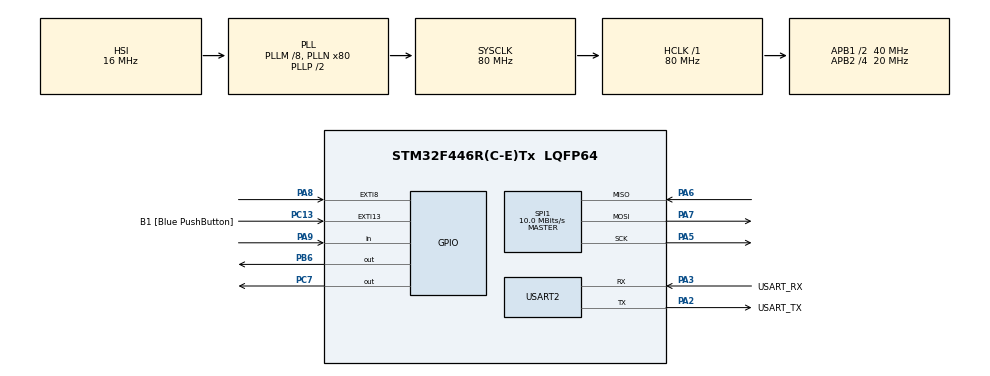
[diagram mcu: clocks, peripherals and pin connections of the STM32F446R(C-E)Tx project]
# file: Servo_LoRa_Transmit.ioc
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Mcu.Family=STM32F4
Mcu.Name=STM32F446R(C-E)Tx
Mcu.Package=LQFP64
NVIC.PriorityGroup=NVIC_PRIORITYGROUP_0
PA13.GPIO_Label=TMS
PA13.Mode=Serial_Wire
PA13.Signal=SYS_JTMS-SWDIO
PA14.GPIO_Label=TCK
PA14.Mode=Serial_Wire
PA14.Signal=SYS_JTCK-SWCLK
PA2.GPIO_Label=USART_TX
PA2.Mode=Asynchronous
PA2.Signal=USART2_TX
PA3.GPIO_Label=USART_RX
PA3.Mode=Asynchronous
PA3.Signal=USART2_RX
PA5.GPIO_PuPd=GPIO_PULLDOWN
PA5.Mode=Full_Duplex_Master
PA5.Signal=SPI1_SCK
PA6.GPIO_PuPd=GPIO_PULLDOWN
PA6.Mode=Full_Duplex_Master
PA6.Signal=SPI1_MISO
PA7.GPIO_PuPd=GPIO_PULLDOWN
PA7.Mode=Full_Duplex_Master
PA7.Signal=SPI1_MOSI
PA8.GPIO_ModeDefaultEXTI=GPIO_MODE_IT_RISING
PA8.GPIO_PuPd=GPIO_PULLDOWN
PA8.Signal=GPXTI8
PA9.Signal=GPIO_Input
PB3.GPIO_Label=SWO
PB3.Signal=SYS_JTDO-SWO
PB6.GPIO_Speed=GPIO_SPEED_FREQ_VERY_HIGH
PB6.PinState=GPIO_PIN_SET
PB6.Signal=GPIO_Output
PC13.GPIO_Label=B1 [Blue PushButton]
PC13.GPIO_ModeDefaultEXTI=GPIO_MODE_IT_FALLING
PC13.Signal=GPXTI13
PC14-OSC32_IN.Mode=LSE-External-Oscillator
PC14-OSC32_IN.Signal=RCC_OSC32_IN
PC15-OSC32_OUT.Mode=LSE-External-Oscillator
PC15-OSC32_OUT.Signal=RCC_OSC32_OUT
PC7.GPIO_ModeDefaultOutputPP=GPIO_MODE_OUTPUT_OD
PC7.GPIO_PuPd=GPIO_NOPULL
PC7.GPIO_Speed=GPIO_SPEED_FREQ_MEDIUM
PC7.PinState=GPIO_PIN_RESET
PC7.Signal=GPIO_Output
PH0-OSC_IN.Mode=HSE-External-Oscillator
PH0-OSC_IN.Signal=RCC_OSC_IN
PH1-OSC_OUT.Mode=HSE-External-Oscillator
PH1-OSC_OUT.Signal=RCC_OSC_OUT
ProjectManager.HeapSize=0x200
ProjectManager.StackSize=0x400
ProjectManager.TargetToolchain=STM32CubeIDE
RCC.48MHZClocksFreq_Value=84000000
RCC.AHBFreq_Value=80000000
RCC.APB1CLKDivider=RCC_HCLK_DIV2
RCC.APB1Freq_Value=40000000
RCC.APB1TimFreq_Value=80000000
RCC.APB2CLKDivider=RCC_HCLK_DIV4
RCC.APB2Freq_Value=20000000
RCC.APB2TimFreq_Value=40000000
RCC.CortexFreq_Value=80000000
RCC.FLatency-AdvancedSettings=FLASH_LATENCY_2
RCC.HCLKFreq_Value=80000000
RCC.HSE_VALUE=8000000
RCC.HSI_VALUE=16000000
RCC.PLLM=8
RCC.PLLN=80
RCC.SYSCLKFreq_VALUE=80000000
RCC.SYSCLKSource=RCC_SYSCLKSOURCE_PLLCLK
RCC.USBFreq_Value=80000000
RCC.VCOOutputFreq_Value=160000000
SPI1.BaudRatePrescaler=SPI_BAUDRATEPRESCALER_2
SPI1.CalculateBaudRate=10.0 MBits/s
SPI1.Direction=SPI_DIRECTION_2LINES
SPI1.Mode=SPI_MODE_MASTER
SPI1.VirtualType=VM_MASTER
USART2.VirtualMode=VM_ASYNC
board=NUCLEO-F446RE

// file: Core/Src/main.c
/* USER CODE BEGIN Header */
/**
 ******************************************************************************
 * @file           : main.c
 * @brief          : Main program body
 ******************************************************************************
 * @attention
 *
 * Copyright (c) 2024 STMicroelectronics.
 * All rights reserved.
 *
 * This software is licensed under terms that can be found in the LICENSE file
 * in the root directory of this software component.
 * If no LICENSE file comes with this software, it is provided AS-IS.
 *
 *
 *
 *RECEIVE RECEIVE RECEIVE RECEIVE RECEIVE RECEIVE RECEIVE RECEIVE RECEIVE RECEIVE
 ******************************************************************************
 */
/* USER CODE END Header */
#include "main.h"

/* USER CODE BEGIN PTD */
#include "stdio.h"
#include "string.h"

/* USER CODE END PTD */

/* USER CODE BEGIN PD */
#define FIFO_OVERFLOW 1
#define NULL_POINTER 2
#define FIFO_SIZE 10      // Beispielgröße des FIFO-Puffers
#define PACKET_SIZE 1     // Beispielgröße eines Pakets

//typedef enum {
//    RADIO_TICK_SIZE_0015_US, // Beispiel für eine Zeitgröße, z. B. 0,015 Mikrosekunden
//    RADIO_TICK_SIZE_1_US,    // Beispiel für 1 Mikrosekunde
//    RADIO_TICK_SIZE_100_US,  // Beispiel für 100 Mikrosekunden
//    // Weitere Größen können hier hinzugefügt werden.
//} RadioTickSizes_t;
//
//typedef struct TickTime_s {
//    RadioTickSizes_t PeriodBase;   //!< Die Basiseinheit der Zeit (Tickgröße)
//    uint16_t PeriodBaseCount;      //!< Die Anzahl der PeriodBase-Einheiten
//} TickTime_t;

/* USER CODE END PD */

/* USER CODE BEGIN PM */
uint8_t txData_const = 0xC0;  // Beispiel: Opcode für GetStatus
uint8_t rxData_const = 0x00;  // Hier wird die Antwort gespeichert
char uart_buf[100];
int uart_buf_len;
uint8_t busy, nss, reset;
uint8_t tx_fifo[FIFO_SIZE][PACKET_SIZE];  // FIFO für Pakete
uint8_t *tx_eprt = tx_fifo[0];            // Zeiger auf das erste Paket
uint8_t tx_length = 0;                    // Anzahl der Pakete im FIFO
uint8_t tx_activated = 0;
uint8_t buf_out[100]; // Beispielgröße für buf_out, abhängig von deinem Bedarf
uint8_t rx_buffer[8]; // Empfangspuffer für Daten

/* USER CODE END PM */

SPI_HandleTypeDef hspi1;

UART_HandleTypeDef huart2;

/* USER CODE BEGIN PV */

void Erase_Flash(void) {
	FLASH_EraseInitTypeDef EraseInitStruct;
	uint32_t SectorError;

	// Unlock the Flash
	HAL_FLASH_Unlock();

	// Configure the erase operation
	EraseInitStruct.TypeErase = FLASH_TYPEERASE_SECTORS;
	EraseInitStruct.VoltageRange = FLASH_VOLTAGE_RANGE_3;
	EraseInitStruct.Sector = FLASH_SECTOR_0; // Specify sector to erase
	EraseInitStruct.NbSectors = 1;

	// Erase the sector
	if (HAL_FLASHEx_Erase(&EraseInitStruct, &SectorError) != HAL_OK) {
		// Handle error
	}

	// Lock the Flash
	HAL_FLASH_Lock();
}
void ResetChip(GPIO_TypeDef* GPIOx, uint16_t GPIO_Pin) {
	HAL_GPIO_WritePin(GPIOx, GPIO_Pin, GPIO_PIN_SET);
	HAL_Delay(20);
	HAL_GPIO_WritePin(GPIOx, GPIO_Pin, GPIO_PIN_RESET);
	HAL_Delay(100);
	HAL_GPIO_WritePin(GPIOx, GPIO_Pin, GPIO_PIN_SET);
	HAL_Delay(20);
}

void SelectChip(GPIO_TypeDef* GPIOx, uint16_t GPIO_Pin, GPIO_PinState state) {
	HAL_GPIO_WritePin(GPIOx, GPIO_Pin, state);
	HAL_Delay(2); // Falls notwendig
}
void SPI_TransmitReceiveWithDebug(SPI_HandleTypeDef* hspi, uint8_t* txData, uint8_t* rxData, uint16_t length, const char* debugMessage) {
	HAL_SPI_TransmitReceive(hspi, txData, rxData, length, HAL_MAX_DELAY);
	if (debugMessage) {
		HAL_UART_Transmit(&huart2, (uint8_t*)debugMessage, strlen(debugMessage), 100);
	}
}
/* USER CODE END PV */

void SystemClock_Config(void);
static void MX_GPIO_Init(void);
static void MX_USART2_UART_Init(void);
static void MX_SPI1_Init(void);

/* USER CODE BEGIN 0 */
uint8_t ProcessStatusByte(uint8_t* statusByte) {
	// Extrahiere die Bits 7:5 (Circuit Mode) und 4:2 (Command Status)
	uint8_t circuitMode = (*statusByte >> 5) & 0x07; // Maske 0x07 für 3 Bits
	uint8_t commandStatus = (*statusByte >> 2) & 0x07; // Maske 0x07 für 3 Bits

	// Debug-Ausgabe für UART
	char uart_buf[50];
	int uart_buf_len = sprintf(uart_buf, "Circuit Mode: %u, Command Status: %u\r\n", circuitMode, commandStatus);
	HAL_UART_Transmit(&huart2, (uint8_t *)uart_buf, uart_buf_len, 100);

	// Verarbeitung von Circuit Mode
	switch (circuitMode) {
	case 0x2:
		// STDBY_RC
		HAL_UART_Transmit(&huart2, (uint8_t *)"Mode: STDBY_RC\r\n", 17, 100);
		break;
	case 0x3:
		// STDBY_XOSC
		HAL_UART_Transmit(&huart2, (uint8_t *)"Mode: STDBY_XOSC\r\n", 19, 100);
		break;
	case 0x4:
		// FS
		HAL_UART_Transmit(&huart2, (uint8_t *)"Mode: FS\r\n", 10, 100);
		break;
	case 0x5:
		// Rx
		HAL_UART_Transmit(&huart2, (uint8_t *)"Mode: Rx\r\n", 10, 100);
		break;
	case 0x6:
		// Tx
		HAL_UART_Transmit(&huart2, (uint8_t *)"Mode: Tx\r\n", 10, 100);
		break;
	default:
		HAL_UART_Transmit(&huart2, (uint8_t *)"Mode: Unknown\r\n", 16, 100);

	}

	// Verarbeitung von Command Status
	switch (commandStatus) {
	case 0x1:
		HAL_UART_Transmit(&huart2, (uint8_t *)"Command Status: Success\r\n", 26, 100);
		break;
	case 0x2:
		HAL_UART_Transmit(&huart2, (uint8_t *)"Command Status: Data Available\r\n", 33, 100);
		break;
	case 0x3:
		HAL_UART_Transmit(&huart2, (uint8_t *)"Command Status: Timeout\r\n", 26, 100);
		break;
	case 0x4:
		HAL_UART_Transmit(&huart2, (uint8_t *)"Command Status: Error\r\n", 24, 100);
		break;
	case 0x5:
		HAL_UART_Transmit(&huart2, (uint8_t *)"Command Status: Failure\r\n", 26, 100);
		break;
	case 0x6:
		HAL_UART_Transmit(&huart2, (uint8_t *)"Command Status: Tx Done\r\n", 26, 100);
		break;
	default:
		HAL_UART_Transmit(&huart2, (uint8_t *)"Command Status: Unknown\r\n", 27, 100);
	}
	return circuitMode;
}

void SPI_WaitUntilReady(SPI_HandleTypeDef *hspi) {
	while (HAL_GPIO_ReadPin(GPIOA, GPIO_PIN_9) == GPIO_PIN_SET) {
		busy=uint8_t(HAL_GPIO_ReadPin(GPIOA, GPIO_PIN_9));
		HAL_GPIO_WritePin(GPIOB, GPIO_PIN_6, GPIO_PIN_SET); // Select the chip
		nss = uint8_t(HAL_GPIO_ReadPin(GPIOB, GPIO_PIN_6));

		HAL_Delay(5);
		HAL_GPIO_WritePin(GPIOB, GPIO_PIN_6, GPIO_PIN_RESET); // Select the chip
		nss = uint8_t(HAL_GPIO_ReadPin(GPIOB, GPIO_PIN_6));
		HAL_Delay(5);
	}
	busy=uint8_t(HAL_GPIO_ReadPin(GPIOA, GPIO_PIN_9));

}

void SPI_WaitTransmit(SPI_HandleTypeDef *hspi) {
	HAL_GPIO_WritePin(GPIOB, GPIO_PIN_6, GPIO_PIN_RESET); // Select the chip
	nss = uint8_t(HAL_GPIO_ReadPin(GPIOB, GPIO_PIN_6));
	while (HAL_GPIO_ReadPin(GPIOA, GPIO_PIN_9) != GPIO_PIN_SET) {
		busy=uint8_t(HAL_GPIO_ReadPin(GPIOA, GPIO_PIN_9));
		HAL_GPIO_WritePin(GPIOB, GPIO_PIN_6, GPIO_PIN_SET); // Select the chip
		nss = uint8_t(HAL_GPIO_ReadPin(GPIOB, GPIO_PIN_6));

		HAL_Delay(5); // Small delay to ensure stability
		HAL_GPIO_WritePin(GPIOB, GPIO_PIN_6, GPIO_PIN_RESET); // Select the chip
		nss = uint8_t(HAL_GPIO_ReadPin(GPIOB, GPIO_PIN_6));

	}
	busy=uint8_t(HAL_GPIO_ReadPin(GPIOA, GPIO_PIN_9));
	HAL_Delay(10); // Small delay to ensure stability

}
void GetStatus() {
	uint8_t command = 0xC0;  // Nur Low Byte wird verwendet
	uint8_t response = 0;

	// Sende 16-Bit-Datenrahmen (High Byte wird ignoriert)
	HAL_SPI_TransmitReceive(&hspi1, &command, &response, 1, HAL_MAX_DELAY);
	ProcessStatusByte(&response);
	// Extrahiere nur das Low Byte aus der Antwort
	HAL_Delay(10);

}

void SetStandby() {
	uint8_t command[2] = {0x80, 0x01};
	//uint8_t response[2]= {0x00, 0x00};
	// Sende und empfange 16-Bit-Datenrahmen
	// Zuerst Daten senden
	HAL_SPI_Transmit(&hspi1, (uint8_t*)command, 2, HAL_MAX_DELAY);

	// Dann die Antwort empfangen
	//HAL_SPI_Receive(&hspi1, (uint8_t*)&response, 2, HAL_MAX_DELAY);
	HAL_Delay(10);

}

// Funktion zum Aktivieren des LoRa Modus
void setLoRaMode() {
	//*(uint16_t*)tx = 0x8A | 0x01 << 8; // LoRa mode

	uint8_t tx[2] = {0x8A, 0x01}; // LoRa Mode aktivieren
	HAL_SPI_Transmit(&hspi1, tx, 2, HAL_MAX_DELAY);
	HAL_UART_Transmit(&huart2, (uint8_t *)"Set LoRa mode\r\n", 15, 100);
	HAL_Delay(10);

}
void getPacketType(SPI_HandleTypeDef* hspi) {
	//uint8_t txData;
	//*(uint32_t*)txData = 0x03 | 0x00 << 16; // LoRa mode
	uint8_t txData[3] = {0x03, 0x00, 0x00};  // Opcode = 0x03, NOP, NOP
	uint8_t rxData[3] = {0x00, 0x00, 0x00};

	// SPI-Übertragung und Empfang
	HAL_SPI_Transmit(&hspi1,txData, 3, HAL_MAX_DELAY);   // Lese die Antwort
	HAL_SPI_Receive(&hspi1, rxData, 3, HAL_MAX_DELAY);   // Lese die Antwort

	// SPI_TransmitReceiveWithDebug(hspi, txData[0], rxData, 3, "GetPacketType: ");
	// Der Pakettyp befindet sistatusch im dritten Byte (rxData[2])
	uint8_t packetType = rxData[2];

	// Debug-Ausgabe
	switch (packetType) {
	case 0x00:
		HAL_UART_Transmit(&huart2, (uint8_t *)"Packet Type: GFSK (0x00)\r\n", 30, 100);
		break;
	case 0x01:
		HAL_UART_Transmit(&huart2, (uint8_t *)"Packet Type: LoRa (0x01)\r\n", 30, 100);

		break;
	case 0x02:
		HAL_UART_Transmit(&huart2, (uint8_t *)"Packet Type: Ranging (0x02)\r\n", 30, 100);

		break;
	case 0x03:
		HAL_UART_Transmit(&huart2, (uint8_t *)"Packet Type: FLRC (0x03)\r\n", 30, 100);

		break;
	case 0x04:
		HAL_UART_Transmit(&huart2, (uint8_t *)"Packet Type: BLE (0x04)\r\n", 30, 100);

		break;
	default:
		HAL_UART_Transmit(&huart2, (uint8_t *)"Unknown Packet Type:", 20, 100);
		HAL_UART_Transmit(&huart2, &packetType, 1, 100);
		HAL_UART_Transmit(&huart2, (uint8_t *)"\r\n", 4, 100);

		break;
	}
}

// Funktion zum Setzen der Frequenz
void setFrequency() {
	uint8_t tx[4] = {0x86, 0xB8, 0x9D, 0x89}; // Frequenzdaten
	uint8_t rx[4] = {0};
	SPI_TransmitReceiveWithDebug(&hspi1, tx, rx, 4, "Set Frequency\r\n");  // SPI mit Debugger
	HAL_Delay(10);

}

// Funktion zum Setzen der Basisadresse des Buffers
void setBufferBaseAddress() {
	uint8_t tx[3] = {0x8F, 0x80, 0x00}; // Basisadresse TODO
	uint8_t rx[3] = {0};
	SPI_TransmitReceiveWithDebug(&hspi1, tx, rx, 3, "Set Buffer Base Address\r\n");  // SPI mit Debugger
	HAL_Delay(10);
}

// Funktion zum Setzen der Modulationsparameter
void setModulationParams() {
	uint8_t tx[4] = {0x8B, 0x70, 0x26, 0x01}; // Modulationsparameter
	uint8_t rx[4] = {0};
	SPI_TransmitReceiveWithDebug(&hspi1, tx, rx, 4, "Set Modulation Params\r\n");  // SPI mit Debugger
	HAL_Delay(10);
}

// Funktion zum Setzen der Paketparameter
void setPacketParams() {
	uint8_t tx[8] = {0x8C, 0x0C, 0x80, 0x01, 0x20, 0x40, 0x00, 0x00}; // Paketparameter
	uint8_t rx[8] = {0};
	SPI_TransmitReceiveWithDebug(&hspi1, tx, rx, 8, "Set Packet Params\r\n");  // SPI mit Debugger
	HAL_Delay(10);
}

// Funktion zum Setzen der RX-Periode (Empfangsparameter)
void setTxParams() {
	uint8_t tx[3] = {0x8E, 0x1F, 0x04}; // TX Periode
	uint8_t rx[3] = {0};
	SPI_TransmitReceiveWithDebug(&hspi1, tx, rx, 3, "Set TX Period\r\n");  // SPI mit Debugger
	HAL_Delay(10);
}
void setTx() {
	uint8_t tx[4] = {0x83, 0x00, 0x00, 0x00}; // TX Periode
	uint8_t rx[4] = {0};
	SPI_TransmitReceiveWithDebug(&hspi1, tx, rx, 4, "Set TX\r\n");  // SPI mit Debugger
	HAL_Delay(10);
}
void ClrIrqStatus() {
	uint8_t tx[3] = {0x97, 0xFF, 0xFF}; // Opcode für ClrIrqStatus und Maske
	uint8_t rx[3] = {0};

	// Sende SPI-Befehl
	HAL_SPI_TransmitReceive(&hspi1, tx, rx, 3, HAL_MAX_DELAY);
	HAL_UART_Transmit(&huart2, (uint8_t *)"ClrIrqStatus sent.\r\n", 20, HAL_MAX_DELAY);
	HAL_Delay(10);
}

//void setDioIrqParams(uint16_t irqMask, uint16_t dioMask, uint16_t dio1Mask, uint16_t dio2Mask) {
//	uint8_t tx[9] = {0};
//
//	// SPI-Befehl: SetDioIrqParams
//	tx[0] = 0x8D;               // Opcode für SetDioIrqParams
//	tx[1] = (irqMask >> 8);     // IRQ-Maske (High-Byte)
//	tx[2] = (irqMask & 0xFF);   // IRQ-Maske (Low-Byte)
//	tx[3] = (dioMask >> 8);     // DIO-Maske (High-Byte)
//	tx[4] = (dioMask & 0xFF);   // DIO-Maske (Low-Byte)
//	tx[5] = (dio1Mask >> 8);    // DIO1-Maske (High-Byte)
//	tx[6] = (dio1Mask & 0xFF);  // DIO1-Maske (Low-Byte)
//	tx[7] = (dio2Mask >> 8);    // DIO2-Maske (High-Byte)
//	tx[8] = (dio2Mask & 0xFF);  // DIO2-Maske (Low-Byte)
//
//	// Sende SPI-Befehl
//	HAL_SPI_Transmit(&hspi1, tx, 9, HAL_MAX_DELAY);
//	HAL_UART_Transmit(&huart2, (uint8_t *)"SetDioIrqParams sent.\r\n", 23, HAL_MAX_DELAY);
//	HAL_Delay(10);
//}

bool checkIrqStatus(uint16_t irqMask) {
	uint8_t tx[4] = {0x15, 0x00, 0x00, 0x00}; // Opcode für GetIrqStatus
	uint8_t rx[4] = {0};

	// SPI-Befehl senden und IRQ-Status abrufen
	HAL_SPI_TransmitReceive(&hspi1, tx, rx, 4, HAL_MAX_DELAY);
	HAL_UART_Transmit(&huart2, (uint8_t *)"GetIrqStatus received.\r\n", 25, HAL_MAX_DELAY);

	// Kombiniere die empfangenen Bytes in ein 16-Bit-Ergebnis
	uint16_t irqStatus = (rx[1] << 8) | rx[2];

	// Debug-Ausgabe
	char debugMsg[50];
	snprintf(debugMsg, sizeof(debugMsg), "IRQ Status: 0x%04X\r\n", irqStatus);
	HAL_UART_Transmit(&huart2, (uint8_t *)debugMsg, strlen(debugMsg), HAL_MAX_DELAY);

	// Überprüfe, ob die gewünschten IRQ-Bits gesetzt sind
	return (irqStatus & irqMask) != 0;
}
void DerTakt()
{
	HAL_GPIO_WritePin(GPIOB, GPIO_PIN_6, GPIO_PIN_SET);   // NSS auf HIGH
	nss = uint8_t(HAL_GPIO_ReadPin(GPIOB, GPIO_PIN_6));
	HAL_Delay(2);
	SPI_WaitUntilReady(&hspi1); // BUSY auf 0
	HAL_Delay(2);
	SPI_WaitTransmit(&hspi1); //  NSS auf 0, BUSY auf 1

}

void WriteBuffer(uint8_t offset, uint8_t *data, uint8_t length) {
	uint8_t txBuffer[length + 2];
	uint8_t rxBuffer[length + 2];  // Empfangspuffer für Status

	// Erstelle das Sendepaket
	txBuffer[0] = 0x1A;  // Opcode
	txBuffer[1] = offset;               // Offset
	for (uint8_t i = 0; i < length; i++) {
		txBuffer[i + 2] = data[i];      // Nutzdaten
	}

	// Sende das Paket und empfange Status
	HAL_SPI_Transmit(&hspi1, txBuffer, length + 2, HAL_MAX_DELAY);

	// Statusprüfung (optional)

	HAL_UART_Transmit(&huart2, (uint8_t*)"Buffer written\r\n", 15, HAL_MAX_DELAY);
	HAL_Delay(10);

}

void ReadBuffer(SPI_HandleTypeDef* hspi, UART_HandleTypeDef* huart, uint8_t payloadLength) {
	uint8_t tx[11] = {0x1B, 0x80, 0x00, 0x00, 0x00, 0x00 ,0x00, 0x00, 0x00, 0x00, 0x00}; // Kommando: ReadBuffer, Offset
	uint8_t rx[11] = {0x00, 0x00};

	char buf[50];
	// SPI-Übertragung
	HAL_SPI_TransmitReceive(hspi, tx, rx, payloadLength + 3, HAL_MAX_DELAY);
	int uart_buf_len = sprintf(buf, "Received Data: %0x , %0x, %0x, %0x, %0x, %0x, %0x, %0x\r\n", rx[3], rx[4], rx[5], rx[6], rx[7], rx[8], rx[9], rx[10] );
	HAL_UART_Transmit(huart, (uint8_t*)buf, uart_buf_len, HAL_MAX_DELAY);

	// Zeilenumbruch nach den Daten
}
void SendPayload( uint8_t offset, uint8_t *data, uint8_t length) {
	WriteBuffer(offset, data, length);
	DerTakt();
	ReadBuffer(&hspi1, &huart2, length);
	//	setTx();
	//    DerTakt();

}
void setDioIrqParamsForTxDone() {
	uint8_t tx[9] = {
			0x8D,       // Befehl: SetDioIrqParams
			0x40, 0x23, // IRQ-Masken: Aktiviert nur TxDone (Bit 3)
			0x00, 0x01, // Keine weiteren IRQs
			0x00, 0x02, // Keine weiteren IRQs
			0x40, 0x20  // DIO-Mapping: TxDone auf DIO1, andere DIOs Standard
	};
	uint8_t rx[9] = {0};

	SPI_TransmitReceiveWithDebug(&hspi1, tx, rx, 9, "Set DIO IRQ Params for TxDone\r\n");
	HAL_Delay(10);
}
// Die Funktion zum Einfügen eines Pakets
uint8_t PutPacket(uint8_t* in)
{
	uint8_t offset = 0x80;

	SendPayload(offset, in, PACKET_SIZE);

	// Verzögerung, um sicherzustellen, dass genug Zeit für die Übertragung bleibt
	HAL_Delay(100);  // Delay erhöht für eine stabilere Übertragung

	return 0;
}

/* USER CODE END 0 */

int main(void)
{

  /* USER CODE BEGIN 1 */
	//Erase_Flash();

  /* USER CODE END 1 */

  /* MCU Configuration--------------------------------------------------------*/

  /* Reset of all peripherals, Initializes the Flash interface and the Systick. */
  HAL_Init();

  /* Configure the system clock */
  SystemClock_Config();

  /* Initialize all configured peripherals */
  MX_GPIO_Init();
  MX_USART2_UART_Init();
  MX_SPI1_Init();
  /* USER CODE BEGIN 2 */
	//HAL_TIM_Base_Start(&htim1);
	ResetChip(GPIOC, GPIO_PIN_7);
	HAL_Delay(5);

	/*=======================================================================*/
	//NSSNSSNSSNSSNSSNSSNSSNSSNSSNSSNSSNSSNSSNSS
	/*=======================================================================*/

	// NSS Test
	SelectChip(GPIOB, GPIO_PIN_6, GPIO_PIN_SET);
	nss = uint8_t(HAL_GPIO_ReadPin(GPIOB, GPIO_PIN_6));

	HAL_Delay(5);

	SelectChip(GPIOB, GPIO_PIN_6, GPIO_PIN_RESET);
	nss = uint8_t(HAL_GPIO_ReadPin(GPIOB, GPIO_PIN_6));

	HAL_Delay(5);

	SelectChip(GPIOB, GPIO_PIN_6, GPIO_PIN_SET);
	nss = uint8_t(HAL_GPIO_ReadPin(GPIOB, GPIO_PIN_6));
	//SPI_WaitUntilReady(&hspi1);

	SPI_WaitTransmit(&hspi1);

	SetStandby();
	HAL_Delay(5);

	DerTakt();

	uint8_t irq_status[4] = {0x15, 0x00, 0x00, 0x00};  // Read IRQ Status command
	uint8_t irq_response[4];
  /* USER CODE END 2 */

  /* Infinite loop */
  /* USER CODE BEGIN WHILE */
	while (1)
	{
		uint8_t data_180[PACKET_SIZE] = {30};  // Beispiel-Daten

		GetStatus();               // Status des Transceivers abrufen
		DerTakt();

		setLoRaMode();             // LoRa-Modus aktivieren
		DerTakt();

		getPacketType(&hspi1);     // Pakettyp abrufen
		DerTakt();

		setFrequency();            // Frequenz setzen
		DerTakt();

		setBufferBaseAddress();    // Basisadresse des Buffers setzen
		DerTakt();

		setModulationParams();     // Modulationsparameter konfigurieren
		DerTakt();

		setPacketParams();         // Paketparameter einstellen
		DerTakt();
		// Paketparameter setzen
		setTxParams();
		DerTakt();

		//while(1){
		PutPacket(data_180);
		DerTakt();

		setDioIrqParamsForTxDone();
		DerTakt();

		setTx();
		DerTakt();

		// Warte auf TxDone oder Timeout
		// Warte auf TxDone IRQ
		do {
		    HAL_SPI_TransmitReceive(&hspi1, irq_status, irq_response, sizeof(irq_status), HAL_MAX_DELAY);
		    char msg[50];
		    snprintf(msg, sizeof(msg), "IRQ: %02x\r\n", irq_response[3]); // Format the message
		    HAL_UART_Transmit(&huart2, (uint8_t *)msg, strlen(msg), HAL_MAX_DELAY); // Send the formatted message
			DerTakt();

		} while ((irq_response[3] & 0x01) == 0);   // RxTxTimeout bit

		// IRQ wurde erkannt
		HAL_UART_Transmit(&huart2, (uint8_t *)"Packet sent successfully.\r\n", 28, HAL_MAX_DELAY);
		// Lösche IRQ-Status
		ClrIrqStatus();
		DerTakt();

		HAL_Delay(5000); // Wiederhole nach 1 Sekunde
		HAL_UART_Transmit(&huart2, (uint8_t*)"\r\n", 2, HAL_MAX_DELAY); // Debug-Ausgabe

	}

	//HAL_Delay(500);

    /* USER CODE END WHILE */

}

void SystemClock_Config(void)
{
  RCC_OscInitTypeDef RCC_OscInitStruct = {0};
  RCC_ClkInitTypeDef RCC_ClkInitStruct = {0};

  /** Configure the main internal regulator output voltage
  */
  __HAL_RCC_PWR_CLK_ENABLE();
  __HAL_PWR_VOLTAGESCALING_CONFIG(PWR_REGULATOR_VOLTAGE_SCALE3);

  /** Initializes the RCC Oscillators according to the specified parameters
  * in the RCC_OscInitTypeDef structure.
  */
  RCC_OscInitStruct.OscillatorType = RCC_OSCILLATORTYPE_HSI;
  RCC_OscInitStruct.HSIState = RCC_HSI_ON;
  RCC_OscInitStruct.HSICalibrationValue = RCC_HSICALIBRATION_DEFAULT;
  RCC_OscInitStruct.PLL.PLLState = RCC_PLL_ON;
  RCC_OscInitStruct.PLL.PLLSource = RCC_PLLSOURCE_HSI;
  RCC_OscInitStruct.PLL.PLLM = 8;
  RCC_OscInitStruct.PLL.PLLN = 80;
  RCC_OscInitStruct.PLL.PLLP = RCC_PLLP_DIV2;
  RCC_OscInitStruct.PLL.PLLQ = 2;
  RCC_OscInitStruct.PLL.PLLR = 2;
  if (HAL_RCC_OscConfig(&RCC_OscInitStruct) != HAL_OK)
  {
    Error_Handler();
  }

  /** Initializes the CPU, AHB and APB buses clocks
  */
  RCC_ClkInitStruct.ClockType = RCC_CLOCKTYPE_HCLK|RCC_CLOCKTYPE_SYSCLK
                              |RCC_CLOCKTYPE_PCLK1|RCC_CLOCKTYPE_PCLK2;
  RCC_ClkInitStruct.SYSCLKSource = RCC_SYSCLKSOURCE_PLLCLK;
  RCC_ClkInitStruct.AHBCLKDivider = RCC_SYSCLK_DIV1;
  RCC_ClkInitStruct.APB1CLKDivider = RCC_HCLK_DIV2;
  RCC_ClkInitStruct.APB2CLKDivider = RCC_HCLK_DIV4;

  if (HAL_RCC_ClockConfig(&RCC_ClkInitStruct, FLASH_LATENCY_2) != HAL_OK)
  {
    Error_Handler();
  }
}

static void MX_SPI1_Init(void)
{

  /* SPI1 parameter configuration*/
  hspi1.Instance = SPI1;
  hspi1.Init.Mode = SPI_MODE_MASTER;
  hspi1.Init.Direction = SPI_DIRECTION_2LINES;
  hspi1.Init.DataSize = SPI_DATASIZE_8BIT;
  hspi1.Init.CLKPolarity = SPI_POLARITY_LOW;
  hspi1.Init.CLKPhase = SPI_PHASE_1EDGE;
  hspi1.Init.NSS = SPI_NSS_SOFT;
  hspi1.Init.BaudRatePrescaler = SPI_BAUDRATEPRESCALER_2;
  hspi1.Init.FirstBit = SPI_FIRSTBIT_MSB;
  hspi1.Init.TIMode = SPI_TIMODE_DISABLE;
  hspi1.Init.CRCCalculation = SPI_CRCCALCULATION_DISABLE;
  hspi1.Init.CRCPolynomial = 10;
  if (HAL_SPI_Init(&hspi1) != HAL_OK)
  {
    Error_Handler();
  }

}

static void MX_USART2_UART_Init(void)
{

  huart2.Instance = USART2;
  huart2.Init.BaudRate = 115200;
  huart2.Init.WordLength = UART_WORDLENGTH_8B;
  huart2.Init.StopBits = UART_STOPBITS_1;
  huart2.Init.Parity = UART_PARITY_NONE;
  huart2.Init.Mode = UART_MODE_TX_RX;
  huart2.Init.HwFlowCtl = UART_HWCONTROL_NONE;
  huart2.Init.OverSampling = UART_OVERSAMPLING_16;
  if (HAL_UART_Init(&huart2) != HAL_OK)
  {
    Error_Handler();
  }

}

static void MX_GPIO_Init(void)
{
  GPIO_InitTypeDef GPIO_InitStruct = {0};

  /* GPIO Ports Clock Enable */
  __HAL_RCC_GPIOC_CLK_ENABLE();
  __HAL_RCC_GPIOH_CLK_ENABLE();
  __HAL_RCC_GPIOA_CLK_ENABLE();
  __HAL_RCC_GPIOB_CLK_ENABLE();

  /*Configure GPIO pin Output Level */
  HAL_GPIO_WritePin(GPIOC, GPIO_PIN_7, GPIO_PIN_RESET);

  /*Configure GPIO pin Output Level */
  HAL_GPIO_WritePin(GPIOB, GPIO_PIN_6, GPIO_PIN_SET);

  /*Configure GPIO pin : B1_Pin */
  GPIO_InitStruct.Pin = B1_Pin;
  GPIO_InitStruct.Mode = GPIO_MODE_IT_FALLING;
  GPIO_InitStruct.Pull = GPIO_NOPULL;
  HAL_GPIO_Init(B1_GPIO_Port, &GPIO_InitStruct);

  /*Configure GPIO pin : PC7 */
  GPIO_InitStruct.Pin = GPIO_PIN_7;
  GPIO_InitStruct.Mode = GPIO_MODE_OUTPUT_OD;
  GPIO_InitStruct.Pull = GPIO_NOPULL;
  GPIO_InitStruct.Speed = GPIO_SPEED_FREQ_MEDIUM;
  HAL_GPIO_Init(GPIOC, &GPIO_InitStruct);

  /*Configure GPIO pin : PA8 */
  GPIO_InitStruct.Pin = GPIO_PIN_8;
  GPIO_InitStruct.Mode = GPIO_MODE_IT_RISING;
  GPIO_InitStruct.Pull = GPIO_PULLDOWN;
  HAL_GPIO_Init(GPIOA, &GPIO_InitStruct);

  /*Configure GPIO pin : PA9 */
  GPIO_InitStruct.Pin = GPIO_PIN_9;
  GPIO_InitStruct.Mode = GPIO_MODE_INPUT;
  GPIO_InitStruct.Pull = GPIO_NOPULL;
  HAL_GPIO_Init(GPIOA, &GPIO_InitStruct);

  /*Configure GPIO pin : PB6 */
  GPIO_InitStruct.Pin = GPIO_PIN_6;
  GPIO_InitStruct.Mode = GPIO_MODE_OUTPUT_PP;
  GPIO_InitStruct.Pull = GPIO_NOPULL;
  GPIO_InitStruct.Speed = GPIO_SPEED_FREQ_VERY_HIGH;
  HAL_GPIO_Init(GPIOB, &GPIO_InitStruct);

}

void Error_Handler(void)
{
	__disable_irq();
	while (1)
	{
	}
}
